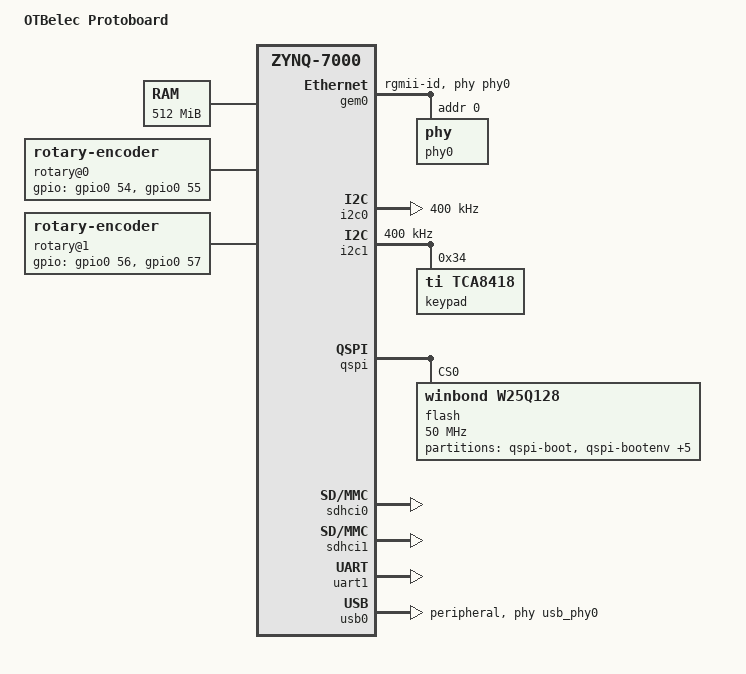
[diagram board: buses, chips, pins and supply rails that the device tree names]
/*
 * Copyright (C) 2019 Vegard Hella <hella@otbelectronics.com>
 *
 */

/dts-v1/;
/include/ "zynq-7000.dtsi"

/ {
	model = "OTBelec Protoboard";
	compatible = "otbelec,protoboard", "xlnx,zynq-7000";

	aliases {
		ethernet0 = &gem0;
		i2c0 = &i2c0;
		i2c1 = &i2c1;
		serial0 = &uart1;
		spi0 = &qspi;
	};

	chosen {
		bootargs = "earlycon";
		stdout-path = "serial0:115200n8";
	};

	memory {
		device_type = "memory";
		reg = <0x0 0x20000000>;
	};

	cpus {
		cpu@0 {
			operating-points = <500000 1000000 250000 1000000>;
		};
	};

	amba_pl: amba_pl {
		#address-cells = <1>;
		#size-cells = <1>;
		compatible = "simple-bus";
		ranges;

		axi_fifo_mm_s_0: axi_fifo_mm_s@43c00000 {
			clock-names = "s_axi_aclk";
			clocks = <&clkc 15>;
			compatible = "xlnx,axi-fifo-mm-s-4.1";
			interrupt-names = "interrupt";
			interrupt-parent = <&intc>;
			interrupts = <0 29 4>;
			reg = <0x43c00000 0x10000>;
			xlnx,axi-str-rxd-protocol = "XIL_AXI_STREAM_ETH_DATA";
			xlnx,axi-str-rxd-tdata-width = <0x20>;
			xlnx,axi-str-txc-protocol = "XIL_AXI_STREAM_ETH_CTRL";
			xlnx,axi-str-txc-tdata-width = <0x20>;
			xlnx,axi-str-txd-protocol = "XIL_AXI_STREAM_ETH_DATA";
			xlnx,axi-str-txd-tdata-width = <0x20>;
			xlnx,axis-tdest-width = <0x4>;
			xlnx,axis-tid-width = <0x4>;
			xlnx,axis-tuser-width = <0x4>;
			xlnx,data-interface-type = <0x0>;
			xlnx,has-axis-tdest = <0x0>;
			xlnx,has-axis-tid = <0x0>;
			xlnx,has-axis-tkeep = <0x0>;
			xlnx,has-axis-tstrb = <0x0>;
			xlnx,has-axis-tuser = <0x0>;
			xlnx,rx-fifo-depth = <0x200>;
			xlnx,rx-fifo-pe-threshold = <0x5>;
			xlnx,rx-fifo-pf-threshold = <0x1fb>;
			xlnx,s-axi-id-width = <0x4>;
			xlnx,s-axi4-data-width = <0x20>;
			xlnx,select-xpm = <0x0>;
			xlnx,tx-fifo-depth = <0x200>;
			xlnx,tx-fifo-pe-threshold = <0x5>;
			xlnx,tx-fifo-pf-threshold = <0x1fb>;
			xlnx,use-rx-cut-through = <0x0>;
			xlnx,use-rx-data = <0x0>;
			xlnx,use-tx-ctrl = <0x0>;
			xlnx,use-tx-cut-through = <0x0>;
			xlnx,use-tx-data = <0x1>;
		};
	};

	usb_phy0: phy0@e0002000 {
		compatible = "ulpi-phy";
		#phy-cells = <0>;
		reg = <0xe0002000 0x1000>;
		view-port = <0x0170>;
		drv-vbus;
	};

	rotary@0 {
		compatible = "rotary-encoder";
		gpios = <&gpio0 54 0>, <&gpio0 55 0>;
		linux,axis = <0>; /* REL_X */
		rotary-encoder,encoding = "gray";
		rotary-encoder,relative-axis;
	};

	rotary@1 {
		compatible = "rotary-encoder";
		gpios = <&gpio0 56 0>, <&gpio0 57 0>;
		linux,axis = <0>; /* REL_X */
		rotary-encoder,encoding = "gray";
		rotary-encoder,relative-axis;
	};

};

&gem0 {
	status = "okay";
	xlnx,ptp-enet-clock = <0x4f790d8>;
	phy-mode = "rgmii-id";    
	phy-handle = <&phy0>;
    phy0: phy@0 {
        /* KSZ9031RN */
        device_type = "ethernet-phy";
        reg = <0>;
        /* reset-gpios = <&gpio0 7 1>; */ /* Driver doesn't reset correctly. See /etc/init.d modules. */
    };
};

&gpio0 {
	emio-gpio-width = <4>;
	gpio-mask-high = <0x0>;
	gpio-mask-low = <0x5600>;
};

&adc {
    xlnx,channels {
        #address-cells = <1>;
        #size-cells = <0>;
        channel@3 { /* Vaux2: Fader 2 */
            reg = <3>;
        };
        channel@11 { /* Vaux10: Fader 1 */
            reg = <11>;
        };
    };
};

&i2c0 {
	status = "okay";
	clock-frequency = <400000>;
};

&i2c1 {
	status = "okay";
	clock-frequency = <400000>;

	keypad: tca8418@34 {
		compatible = "ti,tca8418";
		reg = <0x34>;
		interrupt-parent = <&intc>;
		interrupts = <0 30 1>; /* 1: raising edge (inverted in fpga, compared to chip) */
		linux,keymap = <0x00000001 		/* SW1 (row 00 col 00 keycode 0001) */
						0x00010002 		/* SW2 */
						0x01000003 		/* SW3 */
						0x01010004 		/* SW4 */
						0x01020005 		/* SW5 */
						0x02000006		/* SW6 */
						0x02010007>;	/* SW7 */
		keypad,num-rows = <3>;
		keypad,num-columns = <3>;
	};
};

&intc {
	num_cpus = <2>;
	num_interrupts = <96>;
};

&qspi {
	status = "okay";
	is-dual = <0>;
	num-cs = <1>;
	xlnx,fb-clk = <0x1>;
	xlnx,qspi-mode = <0x0>;
	flash@0 {
		compatible = "winbond,w25q128";
		reg = <0x0>;
		spi-tx-bus-width = <1>;
		spi-rx-bus-width = <4>;
		spi-max-frequency = <50000000>;
		#address-cells = <1>;
		#size-cells = <1>;
		partition@qspi-boot {
			label = "qspi-boot";
			reg = <0x0 0x080000>;
		};
		partition@qspi-bootenv {
			label = "qspi-bootenv";
			reg = <0x080000 0x020000>;
		};		
		partition@qspi-bitstream {
			label = "qspi-bitstream";
			reg = <0x0A0000 0x460000>;
		};		
		partition@qspi-kernel {
			label = "qspi-kernel";
			reg = <0x500000 0x480000>;
		};
		partition@qspi-devicetree {
			label = "qspi-devicetree";
			reg = <0x980000 0x010000>;
		};
		partition@qspi-rootfs {
			label = "qspi-rootfs";
			reg = <0x990000 0x600000>;
		};
		partition@qspi-data {
			label = "data";
			reg = <0xF90000 0x070000>;
		};
	};
};

&sdhci0 {
	status = "okay";
	xlnx,has-cd = <0x1>;
	xlnx,has-power = <0x0>;
	xlnx,has-wp = <0x1>;
};

&sdhci1 {
	status = "okay";
	xlnx,has-cd = <0x1>;
	xlnx,has-power = <0x0>;
	xlnx,has-wp = <0x0>;
};

&uart1 {
	status = "okay";
	cts-override;
	device_type = "serial";
	port-number = <0>;
};

&usb0 {
	status = "okay";
	dr_mode = "peripheral";
	phy_type = "ulpi";
	usb-phy = <&usb_phy0>;
};

&clkc {
	fclk-enable = <0x1>;
	ps-clk-frequency = <33333333>;
};

